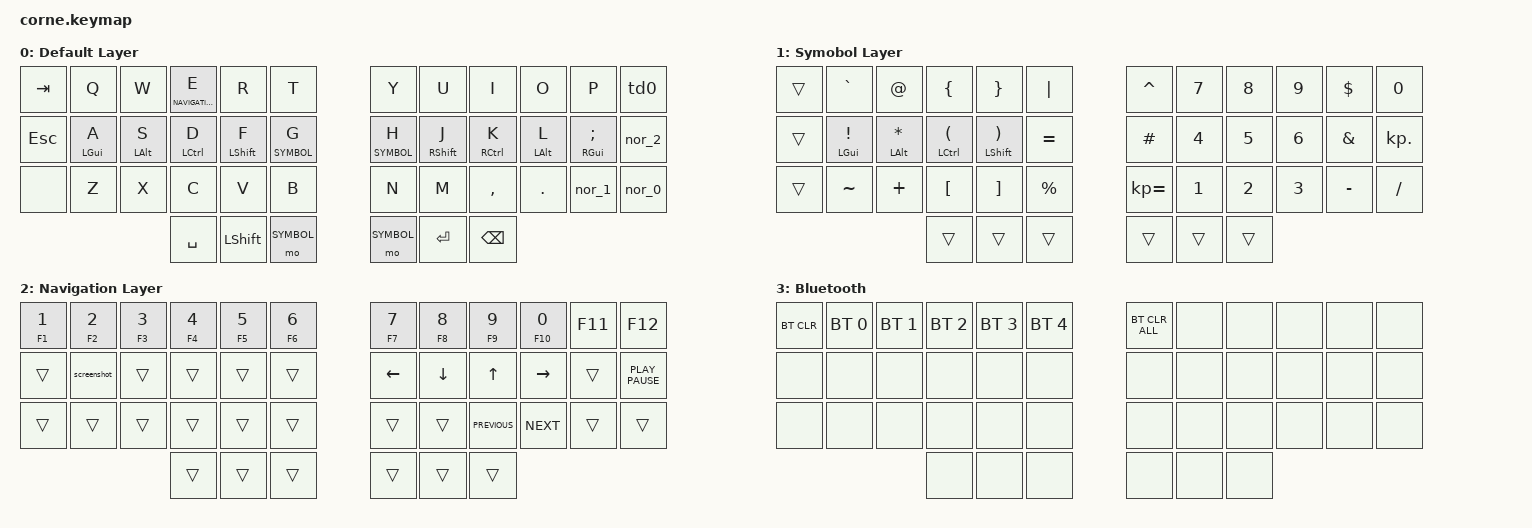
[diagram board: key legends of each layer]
/*
 * Copyright (c) 2020 The ZMK Contributors
 *
 * SPDX-License-Identifier: MIT
 */

#include <behaviors.dtsi>
#include <dt-bindings/zmk/keys.h>
#include <dt-bindings/zmk/bt.h>


#define DEFAULT 0
#define SYMBOL   1
#define NAVIGATION   2
#define BLUETOOTH   3

/ {
        keymap {
                compatible = "zmk,keymap";

                default_layer {
                        display-name = "Default Layer";
                        bindings = <
   &kp TAB  &kp Q       &kp W  &lt NAVIGATION E   &kp R   &kp T   &kp Y   &kp U   &kp I   &kp O   &kp P   &td0
   &kp ESC  &hml LGUI A &hml LALT S  &hml LCTRL D   &hml LSHFT F  &lt SYMBOL G    &lt SYMBOL H   &hmr RSHFT J   &hmr RCTRL K   &hmr LALT L   &hmr RGUI SEMI   &nor_2
   &none &kp Z       &kp X &kp C &kp V &kp B   &kp N &kp M  &kp COMMA &kp DOT &nor_1 &nor_0
                 &kp SPACE &kp LSHFT &mo SYMBOL    &mo SYMBOL &kp RET &kp BACKSPACE 
                        >;
                };
                symbol {
                        display-name = "Symobol Layer";
                        bindings = <
   &trans &kp GRAVE  &kp AT_SIGN  &kp LEFT_BRACE       &kp RIGHT_BRACE        &kp PIPE    &kp CARET    &kp N7  &kp N8 &kp N9  &kp DOLLAR    &kp N0
   &trans &hml LGUI EXCL   &hml LALT ASTERISK &hml LCTRL LEFT_PARENTHESIS  &hml LSHFT RIGHT_PARENTHESIS &kp EQUAL   &kp HASH     &kp N4 &kp N5 &kp N6  &kp AMPERSAND &kp KP_DOT
   &trans  &kp TILDE  &kp PLUS     &kp LEFT_BRACKET      &kp RIGHT_BRACKET    &kp PERCENT &kp KP_EQUAL &kp N1 &kp N2 &kp N3  &kp MINUS     &kp SLASH
                                    &trans   &trans  &trans      &trans &trans &trans 
                        >;
                };
                navigation {
                        display-name = "Navigation Layer";
                        bindings = <
   &mt F1 1 &mt F2 2 &mt F3 3 &mt F4 4   &mt F5 5   &mt F6 6        &mt F7 7   &mt F8 8   &mt F9 9          &mt F10 0     &kp F11 &kp F12
   &trans &screenshot &trans &trans   &trans   &trans      &kp LEFT &kp DOWN &kp UP          &kp RIGHT  &trans &kp K_PLAY_PAUSE 
   &trans &trans &trans &trans   &trans   &trans      &trans   &trans   &kp K_PREVIOUS  &kp K_NEXT &trans &trans
                             &trans &trans &trans    &trans &trans    &trans
                        >;
                };
                bluetooth {
                        display-name = "Bluetooth";
                        bindings = <
   &bt BT_CLR &bt BT_SEL 0 &bt BT_SEL 1 &bt BT_SEL 2   &bt BT_SEL 3  &bt BT_SEL 4        &bt BT_CLR_ALL   &none   &none    &none     &none &none 
   &none &none &none &none   &none   &none      &none &none &none &none &none &none 
   &none &none &none &none   &none   &none      &none   &none   &none &none &none &none
                             &none &none &none    &none &none    &none
                        >;
                };
        };


         behaviors {
                hml: home_row_mod_left {
                        compatible = "zmk,behavior-hold-tap";
                        #binding-cells = <2>;
                        flavor = "balanced";
                        require-prior-idle-ms = <150>;
                        tapping-term-ms = <230>;
                        quick-tap-ms = <175>;
                        bindings = <&kp>, <&kp>;
                };
                hmr: home_row_mod_right {
                        compatible = "zmk,behavior-hold-tap";
                        #binding-cells = <2>;
                        flavor = "balanced";
                        require-prior-idle-ms = <150>;
                        tapping-term-ms = <230>;
                        quick-tap-ms = <175>;
                        bindings = <&kp>, <&kp>;
                };
                td0: bluetooth_tap_dance {
                        compatible = "zmk,behavior-tap-dance";
                        #binding-cells = <0>;
                        tapping-term-ms = <200>;
                        bindings = <&kp SINGLE_QUOTE>, <&sl 4>;
                };
        };

        macros {
                /* Norwegian characters */
                nor_0: norwegian_ae {
                compatible = "zmk,behavior-macro";
                #binding-cells = <0>;
                wait-ms = <0>;
                tap-ms = <0>;
                bindings = <&macro_press &kp RALT>
                        , <&macro_tap &kp Z>
                        , <&macro_release &kp RALT>;
                };
                nor_1: norwegian_oe {
                compatible = "zmk,behavior-macro";
                #binding-cells = <0>;
                wait-ms = <0>;
                tap-ms = <0>;
                bindings = <&macro_press &kp RALT>
                        , <&macro_tap &kp L>
                        , <&macro_release &kp RALT>;
                };
                nor_2: norwegian_aa {
                compatible = "zmk,behavior-macro";
                #binding-cells = <0>;
                wait-ms = <0>;
                tap-ms = <0>;
                bindings = <&macro_press &kp RALT>
                        , <&macro_tap &kp W>
                        , <&macro_release &kp RALT>;
                };
                screenshot: screenshot {
                compatible = "zmk,behavior-macro";
                #binding-cells = <0>;
                wait-ms = <0>;
                tap-ms = <0>;
                bindings = <&macro_press &kp LGUI>
                        , <&macro_press  &kp LSHFT>
                        , <&macro_tap &kp S>
                        , <&macro_release &kp LGUI>
                        , <&macro_release &kp LSHFT>;
                };

                /* Edit macros */
                copy:  copy_macro  { compatible = "zmk,behavior-macro"; #binding-cells = <0>; bindings = <&kp LC(C)>; };
                cut:   cut_macro   { compatible = "zmk,behavior-macro"; #binding-cells = <0>; bindings = <&kp LC(X)>; };
                paste: paste_macro { compatible = "zmk,behavior-macro"; #binding-cells = <0>; bindings = <&kp LC(V)>; };
        };

        /* Combos – same fingers as on the Moonlander */
        combos {
                compatible = "zmk,combos";
                combo_cut   { timeout-ms = <50>; key-positions = <25 26>; bindings = <&cut>;   }; // Z+X
                combo_copy  { timeout-ms = <50>; key-positions = <26 27>; bindings = <&copy>;  }; // X+C
                combo_paste { timeout-ms = <50>; key-positions = <27 28>; bindings = <&paste>; }; // C+V
        };
};
